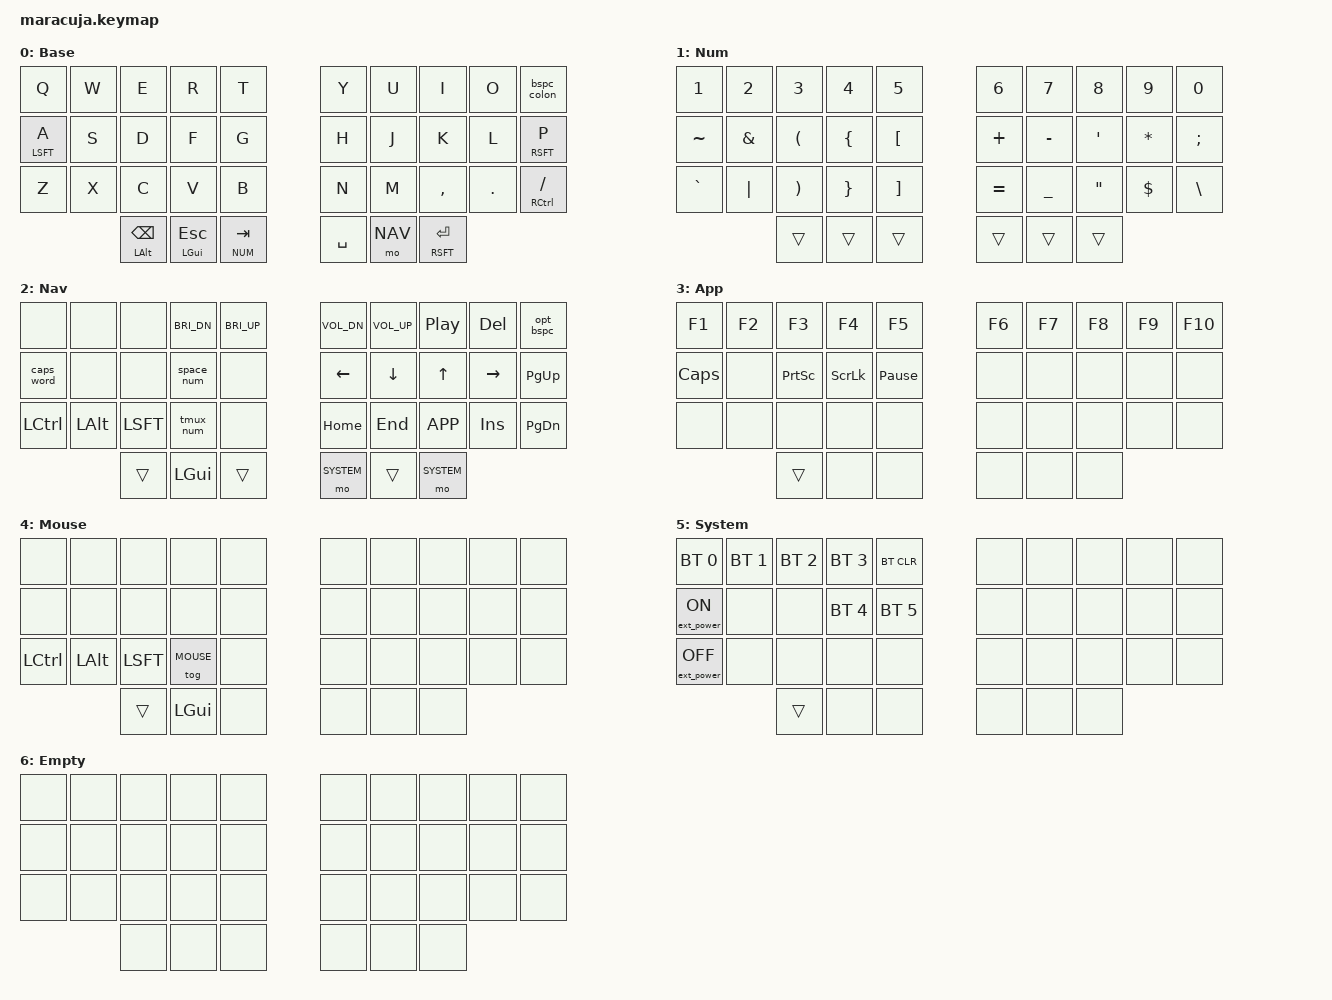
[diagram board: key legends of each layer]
/*
 * Copyright (c) 2020 The ZMK Contributors
 *
 * SPDX-License-Identifier: MIT
 */

#include <behaviors.dtsi>
#include <dt-bindings/zmk/keys.h>
#include <dt-bindings/zmk/bt.h>
#include <dt-bindings/zmk/ext_power.h>
// #include <dt-bindings/zmk/mouse.h>

#define DEFAULT 0
#define NUM     1
#define NAV     2
#define APP     3
#define MOUSE   4
#define SYSTEM  5

// &mmv {
//     time-to-max-speed-ms = <1000>;
//     acceleration-exponent=<1>;
// };

// &mwh {
//     time-to-max-speed-ms = <1000>;
//     acceleration-exponent=<1>;
// };

&caps_word {
  continue-list = <UNDERSCORE MINUS BACKSPACE DELETE>;
};

&mt {
  quick-tap-ms = <200>;
};

/ {
  macros {
    space_num: space_num {
      label = "SPACE_NUM";
      compatible = "zmk,behavior-macro"; \
      #binding-cells = <0>; \
      bindings = <&macro_tap &kp SPACE &sl NUM>;
    };

    tmux_num: tmux_num {
      label = "TMUX_NUM";
      compatible = "zmk,behavior-macro"; \
      #binding-cells = <0>; \
      bindings = <&macro_press &kp LCTRL> \
               , <&macro_tap &kp S> \
               , <&macro_release &kp LCTRL> \
               , <&macro_tap &sl NUM>;
    };

    opt_bspc: opt_bspc {
      label = "OPT_BSPC";
      compatible = "zmk,behavior-macro"; \
      #binding-cells = <0>; \
      bindings = <&macro_press &kp LALT> \
               , <&macro_tap &kp BSPC> \
               , <&macro_release &kp LALT>;
    };
  };

  conditional_layers {
    compatible = "zmk,conditional-layers";
    tri_layer {
        if-layers = <NUM NAV>;
        then-layer = <APP>;
    };
  };

  behaviors {
    lgui_gresc: grave_escape {
      compatible = "zmk,behavior-mod-morph";
      label = "GRAVE_ESCAPE";
      #binding-cells = <0>;
      bindings = <&mt LGUI ESC>, <&kp GRAVE>;
      mods = <(MOD_LGUI|MOD_LSFT|MOD_RGUI|MOD_RSFT|MOD_RALT|MOD_LALT)>;
      keep-mods = <(MOD_LGUI|MOD_LSFT|MOD_RGUI|MOD_RSFT)>;
    };

    bspc_colon: bspc_colon {
      compatible = "zmk,behavior-mod-morph";
      label = "BSPC_COLON";
      #binding-cells = <0>;
      bindings = <&kp BSPC>, <&kp COLON>;
      mods = <(MOD_LSFT|MOD_RSFT)>;
    };

    hm: homerow_mods {
      compatible = "zmk,behavior-hold-tap";
      label = "HOMEROW_MODS";
      #binding-cells = <2>;
      tapping_term_ms = <250>;
      quick-tap-ms = <200>;
      global-quick-tap;
      flavor = "tap-preferred";
      bindings = <&kp>, <&kp>;
    };

    hmt: homerow_mods_no_quicktap {
      compatible = "zmk,behavior-hold-tap";
      label = "HOMEROW_MODS";
      #binding-cells = <2>;
      tapping_term_ms = <250>;
      quick-tap-ms = <200>;
      flavor = "balanced";
      bindings = <&kp>, <&kp>;
    };

    ltp: layer_tap_prefered {
      compatible = "zmk,behavior-hold-tap";
      label = "LAYER_TAP_PREFERED";
      #binding-cells = <2>;
      tapping_term_ms = <200>;
      quick-tap-ms = <150>;
      /* global-quick-tap; */
      flavor = "balanced";
      bindings = <&mo>, <&kp>;
    };

    lhp: layer_hold_prefered {
      compatible = "zmk,behavior-hold-tap";
      label = "LAYER_HOLD_PREFERED";
      #binding-cells = <2>;
      tapping_term_ms = <150>;
      flavor = "hold-preferred";
      bindings = <&mo>, <&kp>;
    };

/*
    mouse_l: mouse_left {
      compatible = "zmk,behavior-mod-morph";
      label = "MOUSE_LEFT";
      #binding-cells = <0>;
      bindings = <&mmv MOVE_HOR(-5000)>, <&mmv MOVE_HOR(-2000)>;
      mods = <(MOD_LSFT|MOD_RSFT)>;
    };
    mouse_r: mouse_right {
      compatible = "zmk,behavior-mod-morph";
      label = "MOUSE_RIGHT";
      #binding-cells = <0>;
      bindings = <&mmv MOVE_HOR(5000)>, <&mmv MOVE_HOR(2000)>;
      mods = <(MOD_LSFT|MOD_RSFT)>;
    };
    mouse_u: mouse_up {
      compatible = "zmk,behavior-mod-morph";
      label = "MOUSE_UP";
      #binding-cells = <0>;
      bindings = <&mmv MOVE_VERT(-5000)>, <&mmv MOVE_VERT(-2000)>;
      mods = <(MOD_LSFT|MOD_RSFT)>;
    };
    mouse_d: mouse_down {
      compatible = "zmk,behavior-mod-morph";
      label = "MOUSE_DOWN";
      #binding-cells = <0>;
      bindings = <&mmv MOVE_VERT(5000)>, <&mmv MOVE_VERT(2000)>;
      mods = <(MOD_LSFT|MOD_RSFT)>;
    };*/
  };

  combos {
    compatible = "zmk,combos";

    #define COMBO(NAME, BINDINGS, KEYPOS, LAYERS) \
      combo_##NAME { \
        bindings = <BINDINGS>; \
        key-positions = <KEYPOS>; \
        layers = <LAYERS>; \
      };

    /*
      ╭─────────────────────╮          ╭─────────────────────╮
      │   0   1   2   3   4 │          │  5   6   7   8  10  │
      │  11  12  13  14  15 │          │ 15  16  17  18  19  │
      │  20  21  22  23  24 ╰───╮  ╭───╯ 25  26  27  28  29  │
      ╰────────────╮ 30  31  32 │  │ 33  34  35 ╭────────────╯
                   ╰────────────╯  ╰────────────╯
    */

    COMBO(caps_word, &caps_word, 30 33, DEFAULT)
  };

  keymap {
    compatible = "zmk,keymap";

    default_layer {
      label = "Base";
      bindings = <
   &kp Q        &kp W        &kp E        &kp R        &kp T                &kp Y        &kp U        &kp I        &kp O        &bspc_colon
   &hm LSFT A   &kp S        &kp D        &kp F        &kp G                &kp H        &kp J        &kp K        &kp L        &hm RSFT P
   &kp Z        &kp X        &kp C        &kp V        &kp B                &kp N        &kp M        &kp COMMA    &kp DOT      &hmt RCTRL FSLH
                            &mt LALT BSPC &mt LGUI ESC &lhp NUM TAB         &kp SPACE    &mo NAV      &mt RSFT RET
      >;
    };

    num_layer {
      label = "Num";
      bindings = <
   &kp N1       &kp N2       &kp N3       &kp N4       &kp N5               &kp N6       &kp N7       &kp N8       &kp N9       &kp N0
   &kp TILDE    &kp AMPS     &kp LPAR     &kp LBRC     &kp LBKT             &kp PLUS     &kp MINUS    &kp SQT      &kp STAR     &kp SEMI
   &kp GRAVE    &kp PIPE     &kp RPAR     &kp RBRC     &kp RBKT             &kp EQUAL    &kp UNDER    &kp DQT      &kp DLLR     &kp BSLH
                             &trans       &trans       &trans               &trans       &trans       &trans
      >;
    };

    nav_layer {
      label = "Nav";
      bindings = <
   &none        &none        &none        &kp C_BRI_DN &kp C_BRI_UP         &kp C_VOL_DN &kp C_VOL_UP &kp C_PP     &kp DEL      &opt_bspc
   &caps_word   &none        &none        &space_num   &none                &kp LEFT     &kp DOWN     &kp UP       &kp RIGHT    &kp PG_UP
   &kp LCTRL    &kp LALT     &kp LSFT     &tmux_num    &none                &kp HOME     &kp END      &kp K_APP    &kp INS      &kp PG_DN
                             &trans       &kp LGUI     &trans               &mo SYSTEM   &trans       &mo SYSTEM
      >;
    };

    app_layer {
      label = "App";
      bindings = <
   &kp F1       &kp F2       &kp F3       &kp F4       &kp F5               &kp F6       &kp F7       &kp F8       &kp F9       &kp F10
   &kp CAPS     &none        &kp PSCRN    &kp SLCK     &kp PAUSE_BREAK      &none        &none        &none        &none        &none
   &none        &none        &none        &none        &none                &none        &none        &none        &none        &none
                             &trans       &none        &none                &none        &none        &none
      >;
    };

/*    mouse_layer {
      bindings = <
   &none        &none        &none        &none        &none                &mkp MB5     &mkp LCLK    &mkp MCLK    &mkp RCLK    &mkp MB4
   &none        &none        &none        &none        &none                &mouse_l     &mouse_d     &mouse_u     &mouse_r     &mwh SCROLL_VERT(-40)
   &kp LCTRL    &kp LALT     &kp LSFT     &tog MOUSE   &none                &mwh SCROLL_HOR(40) &mwh SCROLL_HOR(-40) &none &none &mwh SCROLL_VERT(40)
                             &trans       &kp LGUI     &none                &none        &none        &kp RSFT
      >;
    };*/

    mouse_layer {
      label = "Mouse";
      bindings = <
   &none        &none        &none        &none        &none                &none        &none        &none        &none        &none
   &none        &none        &none        &none        &none                &none        &none        &none        &none        &none
   &kp LCTRL    &kp LALT     &kp LSFT     &tog MOUSE   &none                &none        &none        &none        &none        &none
                             &trans       &kp LGUI     &none                &none        &none        &none
      >;
    };

    system_layer {
      label = "System";
      bindings = <
   &bt BT_SEL 0 &bt BT_SEL 1 &bt BT_SEL 2 &bt BT_SEL 3 &bt BT_CLR           &none        &none        &none        &none        &none
   &ext_power EP_ON &none        &none        &bt BT_SEL 4  &bt BT_SEL 5    &none        &none        &none        &none        &none
   &ext_power EP_OFF &none       &none        &none        &none            &none        &none        &none        &none        &none
                                 &trans       &none        &none            &none        &none        &none
      >;
    };

    emty_layer {
      label = "Empty";
      bindings = <
   &none        &none        &none        &none        &none                &none        &none        &none        &none        &none
   &none        &none        &none        &none        &none                &none        &none        &none        &none        &none
   &none        &none        &none        &none        &none                &none        &none        &none        &none        &none
                             &none        &none        &none                &none        &none        &none
      >;
    };

  };
};

